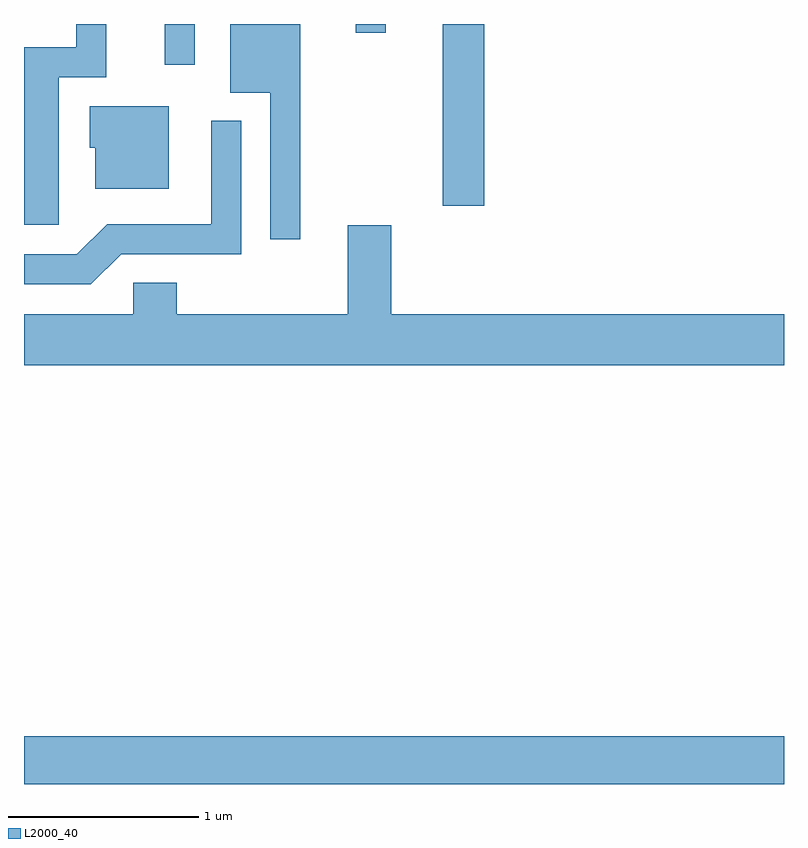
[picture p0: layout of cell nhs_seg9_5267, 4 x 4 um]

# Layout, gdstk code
import gdstk
lib = gdstk.Library(unit=1e-6, precision=1e-09)
def R(c, l, rs):  # rectangles x0, y0, x1, y1
    for r in rs: c.add(gdstk.rectangle(r[:2], r[2:], *l))
def P(c, l, *ps):  # polygons
    for p in ps: c.add(gdstk.Polygon(p, *l))
L2000_40 = (2000, 40)

nhs_seg9_5267 = lib.new_cell('nhs_seg9_5267')
R(nhs_seg9_5267, L2000_40, [(339.611,2058.432,343.611,2058.684), (341.816,2061.476,342.034,2062.432), (340.351,2062.218,340.509,2062.432), (341.356,2062.387,341.514,2062.432)])
P(nhs_seg9_5267, L2000_40, [(339.794,2062.151),(340.044,2062.151),(340.044,2062.432),(339.886,2062.432),(339.886,2062.309),(339.611,2062.309),(339.611,2061.376),(339.794,2061.376)],
  [(341.064,2062.432),(340.696,2062.432),(340.696,2062.071),(340.906,2062.071),(340.906,2061.298),(341.064,2061.298)],
  [(340.374,2061.999),(339.956,2061.999),(339.956,2061.781),(339.986,2061.781),(339.986,2061.566),(340.374,2061.566)],
  [(340.122,2061.221),(340.754,2061.221),(340.754,2061.923),(340.596,2061.923),(340.596,2061.379),(340.049,2061.379),(339.889,2061.219),(339.611,2061.219),(339.611,2061.061),(339.962,2061.061)],
  [(340.186,2061.069),(340.186,2060.904),(339.611,2060.904),(339.611,2060.636),(343.611,2060.636),(343.611,2060.904),(341.544,2060.904),(341.544,2061.374),(341.316,2061.374),(341.316,2060.904),(340.414,2060.904),(340.414,2061.069)])

lib.write_gds('nhs_seg9_5267.gds')
